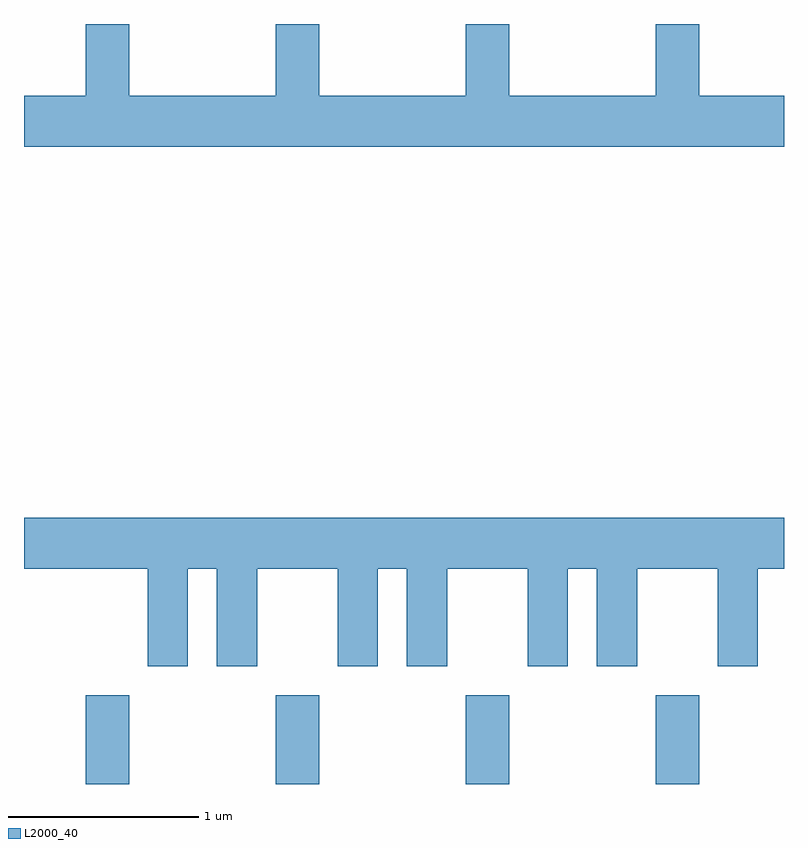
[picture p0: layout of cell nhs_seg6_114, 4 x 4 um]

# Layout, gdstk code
import gdstk
lib = gdstk.Library(unit=1e-6, precision=1e-09)
def R(c, l, rs):  # rectangles x0, y0, x1, y1
    for r in rs: c.add(gdstk.rectangle(r[:2], r[2:], *l))
def A(c, l, x, y, w, h, nx, ny, dx, dy):  # array of equal rectangles
    R(c, l, [(x+i*dx, y+j*dy, x+i*dx+w, y+j*dy+h) for i in range(nx) for j in range(ny)])
def P(c, l, *ps):  # polygons
    for p in ps: c.add(gdstk.Polygon(p, *l))
L2000_40 = (2000, 40)

nhs_seg6_114 = lib.new_cell('nhs_seg6_114')
A(nhs_seg6_114, L2000_40, 187.936, 1622.162, 0.228, 0.467, 4, 1, 1, 0)
P(nhs_seg6_114, L2000_40, [(191.611,1625.784),(191.164,1625.784),(191.164,1626.162),(190.936,1626.162),(190.936,1625.784),(190.164,1625.784),(190.164,1626.162),(189.936,1626.162),(189.936,1625.784),(189.164,1625.784),(189.164,1626.162),(188.936,1626.162),(188.936,1625.784),(188.164,1625.784),(188.164,1626.162),(187.936,1626.162),(187.936,1625.784),(187.611,1625.784),(187.611,1625.516),(191.611,1625.516)],
  [(188.474,1623.296),(188.626,1623.296),(188.626,1622.781),(188.839,1622.781),(188.839,1623.296),(189.261,1623.296),(189.261,1622.781),(189.474,1622.781),(189.474,1623.296),(189.626,1623.296),(189.626,1622.781),(189.839,1622.781),(189.839,1623.296),(190.261,1623.296),(190.261,1622.781),(190.474,1622.781),(190.474,1623.296),(190.626,1623.296),(190.626,1622.781),(190.839,1622.781),(190.839,1623.296),(191.261,1623.296),(191.261,1622.781),(191.474,1622.781),(191.474,1623.296),(191.611,1623.296),(191.611,1623.564),(187.611,1623.564),(187.611,1623.296),(188.261,1623.296),(188.261,1622.781),(188.474,1622.781)])

lib.write_gds('nhs_seg6_114.gds')
